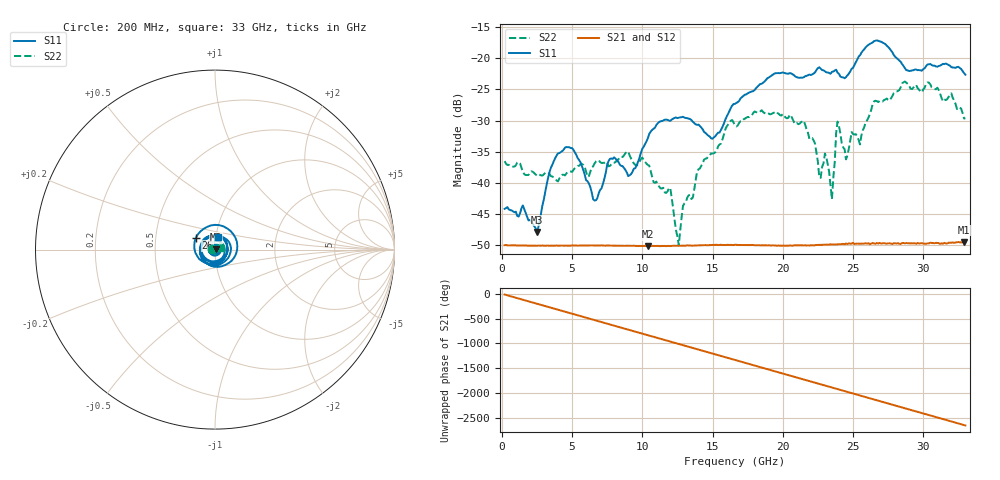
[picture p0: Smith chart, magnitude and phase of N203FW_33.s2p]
# GHZ S RI R 50
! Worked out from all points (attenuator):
!   329 points, 200 MHz to 33 GHz, reference 50 ohm
!   highest |S21| = -49.44 dB at 32.9 GHz (marker M1); lowest = -50.1 dB at 10.4 GHz (marker M2)
!   lowest |S11| = -47.8 dB at 2.5 GHz (marker M3), VSWR 1.01, Z = 50.3 + j0.235 ohm
!   |S11| at or under -10 dB: start of sweep to end of sweep
!   |S22| runs from -50.0 to -23.7 dB; largest |S21 - S12| = 8.8e-05
!   S11 on the Smith chart (normalised r, x): 200 MHz: 1.01, +0.00; 26 GHz: 0.80, +0.11; 33 GHz: 1.02, +0.15
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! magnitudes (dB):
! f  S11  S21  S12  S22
! 200 MHz  -44.1  -50.0  -49.9  -36.5
! 2.5 GHz  -47.8  -50.1  -50.0  -38.8
! 4 GHz  -35.3  -50.0  -50.0  -39.8
! 5.7 GHz  -37.3  -50.0  -50.0  -37.0
! 6.7 GHz  -42.8  -50.0  -50.0  -36.6
! 10.4 GHz  -32.8  -50.1  -50.1  -37.1
! 11.2 GHz  -30.2  -50.1  -50.1  -40.6
! 12 GHz  -30.0  -50.1  -50.1  -40.9
! 12.6 GHz  -29.5  -50.1  -50.1  -50.0
! 13.9 GHz  -30.7  -50.0  -50.0  -38.2
! 16.6 GHz  -27.3  -49.9  -49.9  -30.8
! 22.1 GHz  -22.6  -50.0  -50.0  -32.8
! 22.6 GHz  -21.5  -49.9  -49.9  -39.1
! 23.1 GHz  -22.3  -49.9  -49.9  -35.8
! 23.5 GHz  -22.2  -49.9  -49.8  -42.6
! 23.9 GHz  -22.3  -49.8  -49.8  -30.2
! 24.5 GHz  -23.1  -49.7  -49.7  -36.2
! 26 GHz  -18.0  -49.7  -49.7  -30.0
! 27.6 GHz  -18.5  -49.7  -49.7  -26.8
! 30.4 GHz  -21.0  -49.7  -49.7  -23.9
! 32.9 GHz  -22.4  -49.4  -49.4  -29.7
! 33 GHz  -22.7  -49.5  -49.5  -29.7
